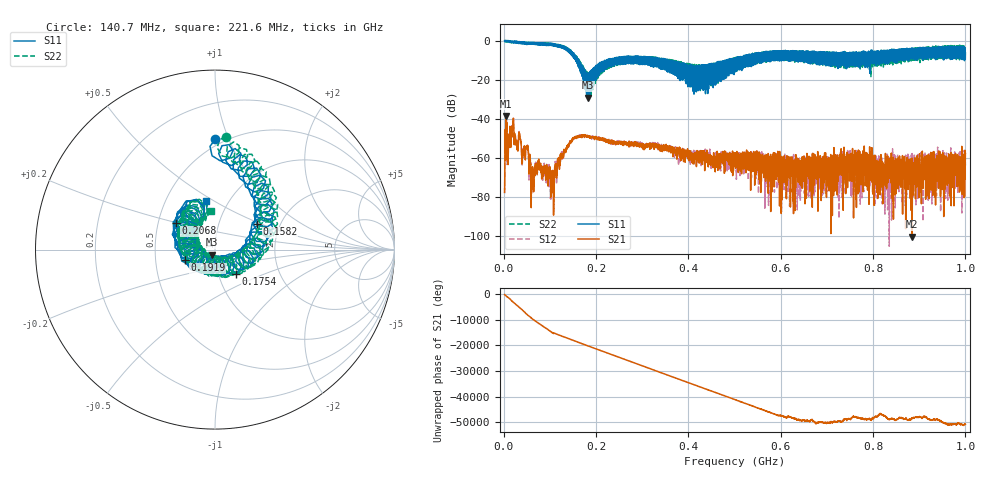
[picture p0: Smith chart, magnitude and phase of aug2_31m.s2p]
!Keysight Technologies N9923A: A.12.45
!Date: Saturday, 02 August 2025 19:20:45
!Timezone: (UTC+08:00) Kuala Lumpur, Singapore
!Model: N9923A
!Serial: MY61181427
!GPS Latitude:
!GPS Longitude:
!GPS TimeStamp: 0001-01-01 00:00:00Z
!GPS Seconds Since Last Read: 0
!CHECKSUM:1389080942
!Correction: S11(ON U)S21(ON U)S12(ON U)S22(ON U)
!S2P File: Measurements:S11,S21,S12,S22:
# Hz S DB R 50
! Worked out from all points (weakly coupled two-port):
!   4001 points, 2 MHz to 1 GHz, reference 50 ohm
!   highest |S21| = -38.53 dB at 5.742 MHz (marker M1); lowest = -100.3 dB at 884.7 MHz (marker M2)
!   lowest |S11| = -29.2 dB at 182.9 MHz (marker M3), VSWR 1.07, Z = 48 - j2.75 ohm
!   |S11| at or under -10 dB: 162.4 MHz to 223.5 MHz (61.04 MHz wide, 31.6 % of centre); 223.7 MHz to 225.1 MHz (1.325 MHz wide, 0.59 % of centre); 356.1 MHz to 483 MHz (126.9 MHz wide, 30.3 % of centre) (the widest 3 of 295)
!   |S22| runs from -29.1 to 0.1 dB; largest |S21 - S12| = 0.003
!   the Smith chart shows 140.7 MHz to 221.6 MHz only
!   S11 on the Smith chart (normalised r, x): 140.7 MHz: 0.45, +0.89; 158.2 MHz: 1.52, +0.47; 175.4 MHz: 1.21, -0.34; 191.9 MHz: 0.71, -0.09; 206.8 MHz: 0.62, +0.20; 221.6 MHz: 0.78, +0.46
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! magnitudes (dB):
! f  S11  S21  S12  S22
! 2 MHz  -0.1  -77.6  -78.2  -0.1
! 5.742 MHz  -0.5  -38.5  -38.5  -0.6
! 21.21 MHz  -0.8  -40.0  -39.9  -1.1
! 52.65 MHz  -1.8  -54.6  -55.4  -1.7
! 62.88 MHz  -1.8  -66.1  -70.4  -1.9
! 74.85 MHz  -1.9  -61.5  -61.9  -1.8
! 104.8 MHz  -2.5  -67.1  -68.7  -2.5
! 140.7 MHz  -4.2  -53.4  -53.3  -4.0
! 158.2 MHz  -11.3  -49.7  -49.5  -10.7
! 168.4 MHz  -14.9  -48.6  -49.1  -15.7
! 175.4 MHz  -14.9  -48.3  -48.5  -15.6
! 182.9 MHz  -29.2  -49.1  -48.6  -24.6
! 191.9 MHz  -14.9  -49.3  -49.1  -16.0
! 206.8 MHz  -11.6  -50.6  -50.1  -12.5
! 221.6 MHz  -11.2  -50.8  -50.5  -13.4
! 334.8 MHz  -11.7  -53.7  -54.4  -9.4
! 417.2 MHz  -26.2  -57.8  -58.7  -15.6
! 501 MHz  -12.1  -62.8  -58.1  -14.0
! 667.4 MHz  -6.2  -78.3  -63.3  -10.7
! 833.8 MHz  -6.2  -61.0  -61.5  -8.3
! 884.7 MHz  -4.0  -100.3  -63.3  -9.9
! 1 GHz  -6.3  -57.8  -63.9  -2.8
